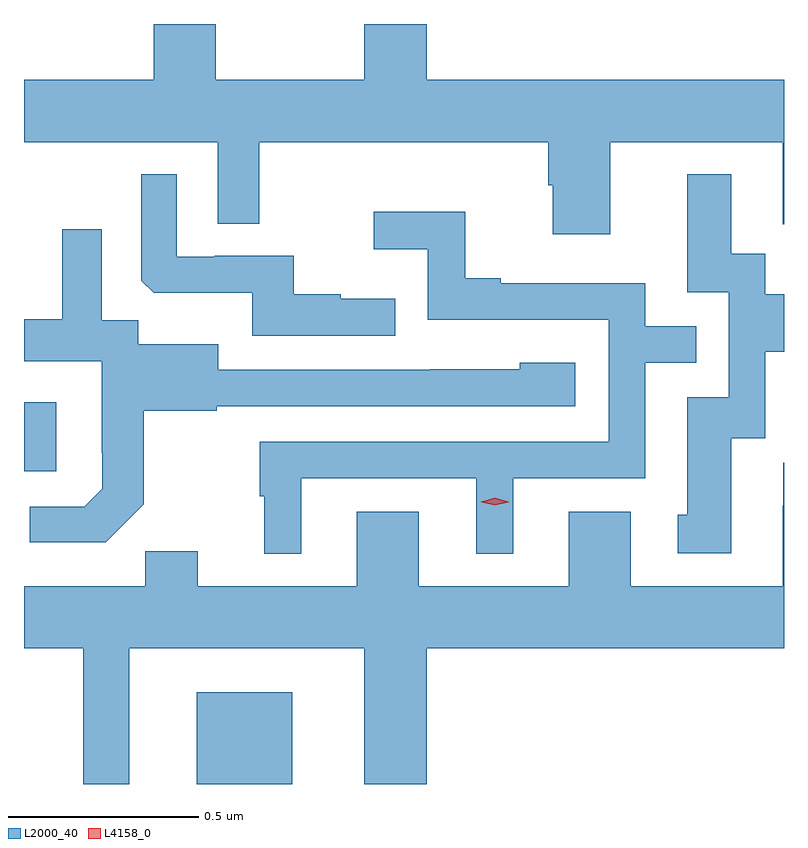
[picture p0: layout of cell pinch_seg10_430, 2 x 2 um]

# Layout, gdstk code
import gdstk
lib = gdstk.Library(unit=1e-6, precision=1e-09)
def R(c, l, rs):  # rectangles x0, y0, x1, y1
    for r in rs: c.add(gdstk.rectangle(r[:2], r[2:], *l))
def P(c, l, *ps):  # polygons
    for p in ps: c.add(gdstk.Polygon(p, *l))
L2000_40 = (2000, 40)
L4158_0 = (4158, 0)

pinch_seg10_430 = lib.new_cell('pinch_seg10_430')
R(pinch_seg10_430, L2000_40, [(632.099,1275.983,632.35,1276.225), (631.644,1276.806,631.729,1276.987)])
P(pinch_seg10_430, L2000_40, [(633.187,1277.672),(633.641,1277.672),(633.641,1277.456),(633.644,1277.456),(633.644,1277.836),(632.704,1277.836),(632.704,1277.983),(632.54,1277.983),(632.54,1277.836),(632.149,1277.836),(632.149,1277.983),(631.985,1277.983),(631.985,1277.836),(631.644,1277.836),(631.644,1277.672),(632.154,1277.672),(632.154,1277.458),(632.263,1277.458),(632.263,1277.672),(633.023,1277.672),(633.023,1277.559),(633.035,1277.559),(633.035,1277.43),(633.187,1277.43)],
  [(633.505,1276.893),(633.594,1276.893),(633.594,1277.12),(633.644,1277.12),(633.644,1277.272),(633.595,1277.272),(633.595,1277.378),(633.505,1277.378),(633.505,1277.587),(633.389,1277.587),(633.389,1277.277),(633.498,1277.277),(633.498,1277.001),(633.389,1277.001),(633.389,1276.692),(633.365,1276.692),(633.365,1276.59),(633.505,1276.59)],
  [(632.621,1277.26),(632.477,1277.26),(632.477,1277.272),(632.354,1277.272),(632.354,1277.373),(632.146,1277.373),(632.146,1277.37),(632.046,1277.37),(632.046,1277.587),(631.953,1277.587),(631.953,1277.307),(631.985,1277.276),(632.244,1277.276),(632.244,1277.163),(632.621,1277.163)],
  [(632.374,1276.788),(632.834,1276.788),(632.834,1276.589),(632.932,1276.589),(632.932,1276.788),(633.279,1276.788),(633.279,1277.091),(633.413,1277.091),(633.413,1277.187),(633.279,1277.187),(633.279,1277.301),(632.899,1277.301),(632.899,1277.314),(632.805,1277.314),(632.805,1277.489),(632.565,1277.489),(632.565,1277.39),(632.706,1277.39),(632.706,1277.205),(633.183,1277.205),(633.183,1276.884),(632.265,1276.884),(632.265,1276.74),(632.276,1276.74),(632.276,1276.589),(632.374,1276.589)],
  [(631.959,1276.719),(631.959,1276.965),(632.151,1276.965),(632.151,1276.977),(633.094,1276.977),(633.094,1277.092),(632.949,1277.092),(632.949,1277.074),(632.713,1277.074),(632.713,1277.073),(632.155,1277.073),(632.155,1277.14),(631.944,1277.14),(631.944,1277.204),(631.849,1277.204),(631.849,1277.443),(631.745,1277.443),(631.745,1277.206),(631.644,1277.206),(631.644,1277.096),(631.848,1277.096),(631.848,1276.855),(631.85,1276.855),(631.85,1276.76),(631.803,1276.713),(631.659,1276.713),(631.659,1276.619),(631.859,1276.619)],
  [(633.644,1276.828),(633.642,1276.828),(633.642,1276.715),(633.641,1276.715),(633.641,1276.504),(633.241,1276.504),(633.241,1276.699),(633.077,1276.699),(633.077,1276.504),(632.683,1276.504),(632.683,1276.699),(632.519,1276.699),(632.519,1276.504),(632.101,1276.504),(632.101,1276.595),(631.963,1276.595),(631.963,1276.504),(631.644,1276.504),(631.644,1276.34),(631.8,1276.34),(631.8,1275.983),(631.921,1275.983),(631.921,1276.34),(632.54,1276.34),(632.54,1275.983),(632.704,1275.983),(632.704,1276.34),(633.644,1276.34)])
P(pinch_seg10_430, L4158_0, [(632.883,1276.716),(632.847,1276.725),(632.847,1276.726),(632.847,1276.726),(632.883,1276.736),(632.919,1276.726),(632.919,1276.726),(632.919,1276.725)])

lib.write_gds('pinch_seg10_430.gds')
